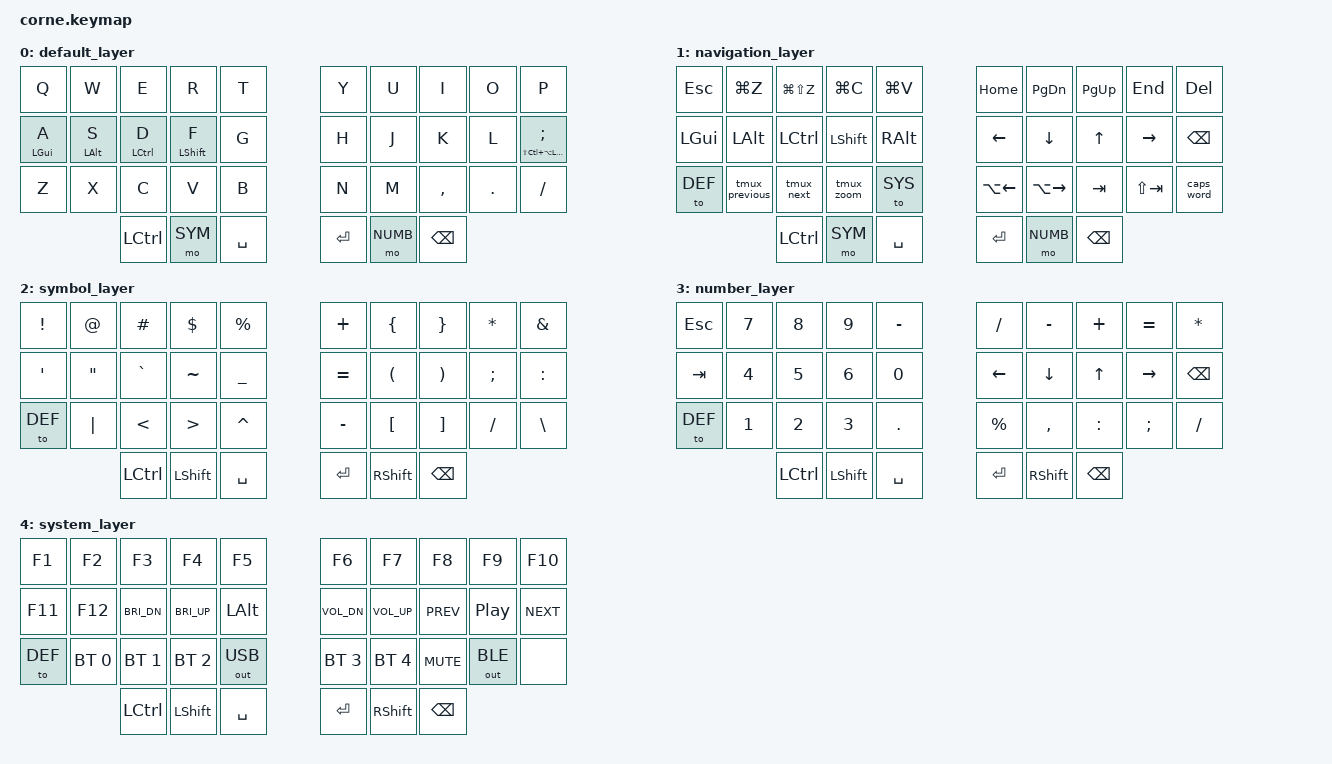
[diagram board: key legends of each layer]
/* Copyright (c) 2020 The ZMK Contributors
 * SPDX-License-Identifier: MIT
 * Five-column Corne keymap by Raymond Ware.
 */
#include <behaviors.dtsi>
#include <dt-bindings/zmk/keys.h>
#include <dt-bindings/zmk/bt.h>
#include <dt-bindings/zmk/outputs.h>

#define DEF 0
#define NAV 1
#define SYM 2
#define NUMB 3
#define SYS 4

/* Physical positions, independent of the active layer's key labels.
 *  LT4 LT3 LT2 LT1 LT0 | RT0 RT1 RT2 RT3 RT4
 *  LM4 LM3 LM2 LM1 LM0 | RM0 RM1 RM2 RM3 RM4
 *  LB4 LB3 LB2 LB1 LB0 | RB0 RB1 RB2 RB3 RB4
 *          LH2 LH1 LH0 | RH0 RH1 RH2
 */
#define LT4 0
#define LT3 1
#define LT2 2
#define LT1 3
#define LT0 4
#define RT0 5
#define RT1 6
#define RT2 7
#define RT3 8
#define RT4 9
#define LM4 10
#define LM3 11
#define LM2 12
#define LM1 13
#define LM0 14
#define RM0 15
#define RM1 16
#define RM2 17
#define RM3 18
#define RM4 19
#define LB4 20
#define LB3 21
#define LB2 22
#define LB1 23
#define LB0 24
#define RB0 25
#define RB1 26
#define RB2 27
#define RB3 28
#define RB4 29
#define LH2 30
#define LH1 31
#define LH0 32
#define RH0 33
#define RH1 34
#define RH2 35

#include "includes/behaviors.dtsi"
#include "includes/combos.dtsi"

/ {
    chosen { zmk,physical-layout = &foostan_corne_5col_layout; };
    keymap {
        compatible = "zmk,keymap";

        default_layer {
            bindings = <
                &kp Q        &kp W        &kp E        &kp R        &kp T        &kp Y        &kp U        &kp I        &kp O        &kp P
                &hm LGUI A   &hm LALT S   &hm LCTRL D  &hm LSHIFT F &kp G        &kp H        &kp J        &kp K        &kp L        &mt LS(LC(LA(LGUI))) SEMICOLON
                &kp Z        &kp X        &kp C        &kp V        &kp B        &kp N        &kp M        &kp COMMA    &kp DOT      &kp SLASH
                &kp LCTRL    &mo SYM      &kp SPACE                             &kp ENTER    &mo NUMB     &kp BACKSPACE
            >;
        };

        /* Mac clipboard shortcuts; tmux macros assume its default Ctrl-B prefix.
         * Physical Z returns to BASE on every non-base layer, even if latched.
         */
        navigation_layer {
            bindings = <
                &kp ESC      &kp LG(Z)    &kp LG(LS(Z)) &kp LG(C)   &kp LG(V)    &kp HOME     &kp PG_DN    &kp PG_UP    &kp END      &kp DELETE
                &kp LGUI     &kp LALT     &kp LCTRL    &kp LSHIFT  &kp RALT     &kp LEFT     &kp DOWN     &kp UP       &kp RIGHT    &kp BACKSPACE
                &to DEF      &tmux_previous &tmux_next &tmux_zoom &to SYS      &kp LA(LEFT) &kp LA(RIGHT) &kp TAB     &kp LS(TAB)  &caps_word
                &kp LCTRL    &mo SYM      &kp SPACE                             &kp ENTER    &mo NUMB     &kp BACKSPACE
            >;
        };

        /* Left thumb selects symbols; bracket pairs use the right index/middle.
         * Shift is still available on both layer-selection thumb positions.
         */
        symbol_layer {
            bindings = <
                &kp EXCL     &kp AT       &kp HASH     &kp DOLLAR  &kp PERCENT  &kp PLUS     &kp LBRC     &kp RBRC     &kp ASTERISK &kp AMPS
                &kp SQT      &kp DQT      &kp GRAVE    &kp TILDE   &kp UNDER    &kp EQUAL    &kp LPAR     &kp RPAR     &kp SEMICOLON &kp COLON
                &to DEF      &kp PIPE     &kp LT       &kp GT      &kp CARET    &kp MINUS    &kp LBKT     &kp RBKT     &kp SLASH    &kp BACKSLASH
                &kp LCTRL    &kp LSHIFT   &kp SPACE                             &kp ENTER    &kp RSHIFT   &kp BACKSPACE
            >;
        };

        /* Right NUM thumb leaves the left hand free for a numpad. */
        number_layer {
            bindings = <
                &kp ESC      &kp N7       &kp N8       &kp N9      &kp MINUS    &kp SLASH    &kp MINUS    &kp PLUS     &kp EQUAL    &kp ASTERISK
                &kp TAB      &kp N4       &kp N5       &kp N6      &kp N0       &kp LEFT     &kp DOWN     &kp UP       &kp RIGHT    &kp BACKSPACE
                &to DEF      &kp N1       &kp N2       &kp N3      &kp DOT      &kp PERCENT  &kp COMMA    &kp COLON    &kp SEMICOLON &kp SLASH
                &kp LCTRL    &kp LSHIFT   &kp SPACE                             &kp ENTER    &kp RSHIFT   &kp BACKSPACE
            >;
        };

        /* No reset, bootloader or pairing-clear actions among everyday chords. */
        system_layer {
            bindings = <
                &kp F1       &kp F2       &kp F3       &kp F4      &kp F5       &kp F6       &kp F7       &kp F8       &kp F9       &kp F10
                &kp F11      &kp F12      &kp C_BRI_DN &kp C_BRI_UP &kp LALT    &kp C_VOL_DN &kp C_VOL_UP &kp C_PREV   &kp C_PP     &kp C_NEXT
                &to DEF      &bt BT_SEL 0 &bt BT_SEL 1 &bt BT_SEL 2 &out OUT_USB &bt BT_SEL 3 &bt BT_SEL 4 &kp C_MUTE  &out OUT_BLE &none
                &kp LCTRL    &kp LSHIFT   &kp SPACE                             &kp ENTER    &kp RSHIFT   &kp BACKSPACE
            >;
        };
    };
};
